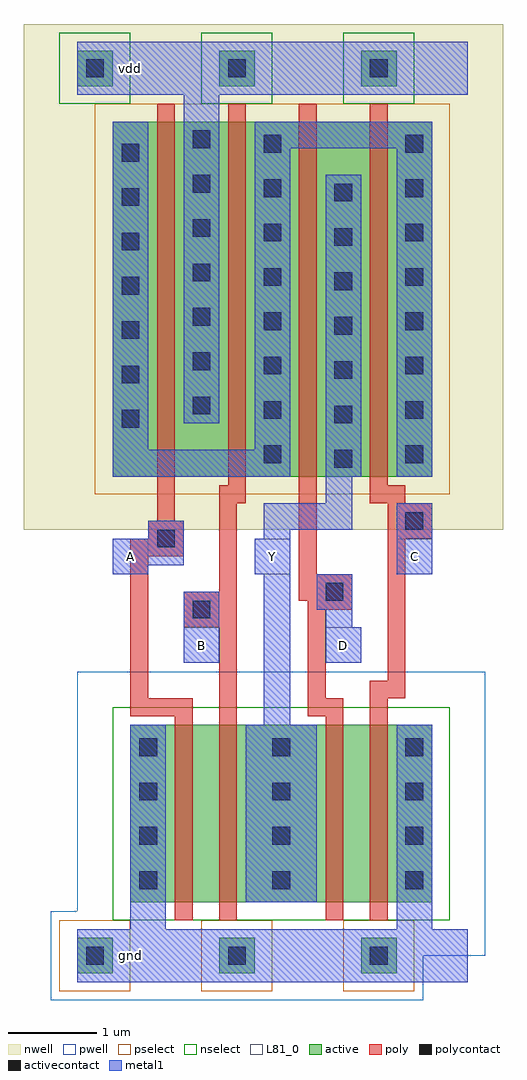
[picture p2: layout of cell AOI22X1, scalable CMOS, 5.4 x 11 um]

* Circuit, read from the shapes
.subckt AOI22X1 A B C D Y gnd vdd
M1 n1 A gnd gnd nfet w=2u l=0.2u
M2 Y B n1 gnd nfet w=2u l=0.2u
M3 n2 D Y gnd nfet w=2u l=0.2u
M4 gnd C n2 gnd nfet w=2u l=0.2u
M5 vdd A n3 vdd pfet w=4u l=0.2u
M6 n3 B vdd vdd pfet w=4u l=0.2u
M7 Y D n3 vdd pfet w=4u l=0.2u
M8 n3 C Y vdd pfet w=4u l=0.2u
.ends

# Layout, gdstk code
import gdstk
lib = gdstk.Library(unit=1e-6, precision=1e-09)
def R(c, l, rs):  # rectangles x0, y0, x1, y1
    for r in rs: c.add(gdstk.rectangle(r[:2], r[2:], *l))
def A(c, l, x, y, w, h, nx, ny, dx, dy):  # array of equal rectangles
    R(c, l, [(x+i*dx, y+j*dy, x+i*dx+w, y+j*dy+h) for i in range(nx) for j in range(ny)])
pwell = (41, 0)
nwell = (42, 0)
active = (43, 0)
pselect = (44, 0)
nselect = (45, 0)
poly = (46, 0)
polycontact = (47, 0)
activecontact = (48, 0)
metal1 = (49, 0)
L81_0 = (81, 0)

aoi22x1 = lib.new_cell('AOI22X1')
R(aoi22x1, pwell, [(-0.5,-0.5,3.7,0), (-0.5,0,4.4,0.5), (-0.2,0.5,4.4,3.2)])
R(aoi22x1, nwell, [(-0.8,4.8,4.6,10.5)])
A(aoi22x1, active, -0.2, -0.2, 0.4, 0.4, 3, 2, 1.6, 10)
R(aoi22x1, active, [(0.4,0.6,3.8,2.6), (0.2,5.4,3.8,9.4)])
A(aoi22x1, pselect, -0.4, -0.4, 0.8, 0.8, 3, 1, 1.6, 0)
R(aoi22x1, pselect, [(0,5.2,4,9.6)])
A(aoi22x1, nselect, -0.4, 9.6, 0.8, 0.8, 3, 1, 1.6, 0)
R(aoi22x1, nselect, [(0.2,0.4,4,2.8)])
R(aoi22x1, poly, [(0.9,0.4,1.1,2.7), (1.4,0.4,1.6,3.7), (2.6,0.4,2.8,2.7), (3.1,0.4,3.3,2.9), (0.4,2.7,1.1,2.9), (2.4,2.7,2.8,2.9), (0.4,2.9,0.6,4.5), (2.4,2.9,2.6,3.9), (3.1,2.9,3.5,3.1), (3.3,3.1,3.5,4.7), (1,3.7,1.6,4.1), (2.4,3.9,2.9,4), (2.3,4,2.9,4.3), (1.4,4.1,1.6,5.1), (2.3,4.3,2.5,9.6), (0.4,4.5,1,4.7), (0.6,4.7,1,4.9), (3.3,4.7,3.8,5.1), (0.7,4.9,0.9,9.6), (1.4,5.1,1.7,5.3), (3.1,5.1,3.5,5.3), (1.5,5.3,1.7,9.6), (3.1,5.3,3.3,9.6)])
R(aoi22x1, polycontact, [(1.1,3.8,1.3,4), (2.6,4,2.8,4.2), (0.7,4.6,0.9,4.8), (3.5,4.8,3.7,5)])
A(aoi22x1, activecontact, -0.1, -0.1, 0.2, 0.2, 3, 2, 1.6, 10)
A(aoi22x1, activecontact, 0.5, 0.75, 0.2, 0.2, 3, 4, 1.5, 0.5)
A(aoi22x1, activecontact, 2.7, 5.5, 0.2, 0.2, 1, 7, 0, 0.5)
A(aoi22x1, activecontact, 1.9, 5.55, 0.2, 0.2, 1, 8, 0, 0.5)
A(aoi22x1, activecontact, 3.5, 5.55, 0.2, 0.2, 1, 8, 0, 0.5)
A(aoi22x1, activecontact, 0.3, 5.95, 0.2, 0.2, 1, 7, 0, 0.5)
A(aoi22x1, activecontact, 1.1, 6.1, 0.2, 0.2, 1, 7, 0, 0.5)
R(aoi22x1, metal1, [(-0.2,-0.3,4.2,0.3), (0.4,0.3,0.8,2.6), (3.4,0.3,3.8,2.6), (1.7,0.6,2.5,2.6), (1.9,2.6,2.2,4.3), (1,3.3,1.4,4.1), (2.6,3.3,3,3.7), (2.6,3.7,2.9,3.9), (2.5,3.9,2.9,4.3), (0.2,4.3,0.6,4.4), (1.8,4.3,2.2,4.7), (3.4,4.3,3.8,5.1), (0.2,4.4,1,4.7), (0.6,4.7,1,4.9), (1.9,4.7,2.2,4.8), (1.9,4.8,2.9,5.1), (2.6,5.1,2.9,5.4), (0.2,5.4,2.2,5.7), (2.6,5.4,3,8.8), (3.4,5.4,3.8,9.1), (0.2,5.7,0.6,9.4), (1.8,5.7,2.2,9.1), (1,6,1.4,9.7), (1.8,9.1,3.8,9.4), (-0.2,9.7,4.2,10.3)])
A(aoi22x1, L81_0, 0.2, 4.3, 0.4, 0.4, 3, 1, 1.6, 0)
R(aoi22x1, L81_0, [(1,3.3,1.4,3.7), (2.6,3.3,3,3.7)])
aoi22x1.add(gdstk.Label('gnd', (0.4,0), layer=49, texttype=0))
aoi22x1.add(gdstk.Label('vdd', (0.4,10), layer=49, texttype=0))
aoi22x1.add(gdstk.Label('C', (3.6,4.5), layer=49, texttype=0))
aoi22x1.add(gdstk.Label('D', (2.8,3.5), layer=49, texttype=0))
aoi22x1.add(gdstk.Label('Y', (2,4.5), layer=49, texttype=0))
aoi22x1.add(gdstk.Label('A', (0.4,4.5), layer=49, texttype=0))
aoi22x1.add(gdstk.Label('B', (1.2,3.5), layer=49, texttype=0))

lib.write_gds('AOI22X1.gds')
